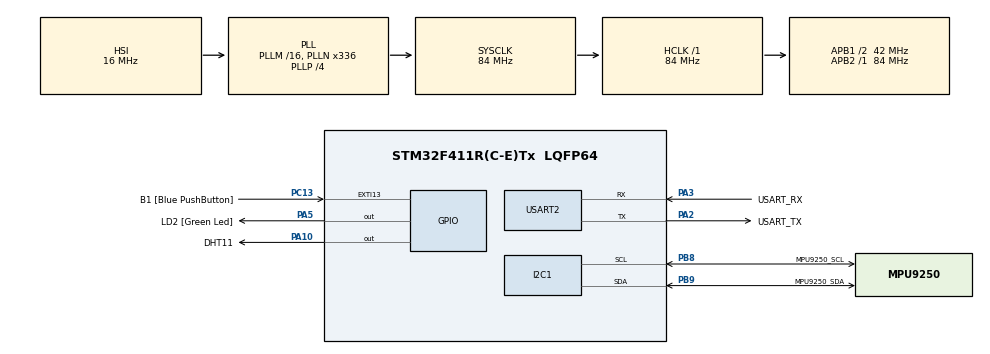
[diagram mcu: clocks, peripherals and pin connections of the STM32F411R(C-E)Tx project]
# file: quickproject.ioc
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Mcu.Family=STM32F4
Mcu.Name=STM32F411R(C-E)Tx
Mcu.Package=LQFP64
NVIC.PriorityGroup=NVIC_PRIORITYGROUP_0
PA10.GPIO_Label=DHT11
PA10.Signal=GPIO_Output
PA13.GPIO_Label=TMS
PA13.Mode=Trace_Asynchronous_SW
PA13.Signal=SYS_JTMS-SWDIO
PA14.GPIO_Label=TCK
PA14.Mode=Trace_Asynchronous_SW
PA14.Signal=SYS_JTCK-SWCLK
PA2.GPIO_Label=USART_TX
PA2.Mode=Asynchronous
PA2.Signal=USART2_TX
PA3.GPIO_Label=USART_RX
PA3.Mode=Asynchronous
PA3.Signal=USART2_RX
PA5.GPIO_Label=LD2 [Green Led]
PA5.Signal=GPIO_Output
PB3.GPIO_Label=SWO
PB3.Mode=Trace_Asynchronous_SW
PB3.Signal=SYS_JTDO-SWO
PB8.GPIO_Label=MPU9250_SCL
PB8.Mode=I2C
PB8.Signal=I2C1_SCL
PB9.GPIO_Label=MPU9250_SDA
PB9.Mode=I2C
PB9.Signal=I2C1_SDA
PC13-ANTI_TAMP.GPIO_Label=B1 [Blue PushButton]
PC13-ANTI_TAMP.GPIO_ModeDefaultEXTI=GPIO_MODE_IT_FALLING
PC13-ANTI_TAMP.Signal=GPXTI13
PC14-OSC32_IN.Mode=LSE-External-Oscillator
PC14-OSC32_IN.Signal=RCC_OSC32_IN
PC15-OSC32_OUT.Mode=LSE-External-Oscillator
PC15-OSC32_OUT.Signal=RCC_OSC32_OUT
PH0\ -\ OSC_IN.Mode=HSE-External-Clock-Source
PH0\ -\ OSC_IN.Signal=RCC_OSC_IN
PH1\ -\ OSC_OUT.Mode=HSE-External-Clock-Source
PH1\ -\ OSC_OUT.Signal=RCC_OSC_OUT
ProjectManager.HeapSize=0x200
ProjectManager.StackSize=0x400
ProjectManager.TargetToolchain=STM32CubeIDE
RCC.48MHZClocksFreq_Value=84000000
RCC.AHBFreq_Value=84000000
RCC.APB1CLKDivider=RCC_HCLK_DIV2
RCC.APB1Freq_Value=42000000
RCC.APB1TimFreq_Value=84000000
RCC.APB2Freq_Value=84000000
RCC.APB2TimFreq_Value=84000000
RCC.CortexFreq_Value=84000000
RCC.FLatency-AdvancedSettings=FLASH_LATENCY_2
RCC.HCLKFreq_Value=84000000
RCC.HSE_VALUE=8000000
RCC.HSI_VALUE=16000000
RCC.PLLN=336
RCC.PLLP=RCC_PLLP_DIV4
RCC.SYSCLKFreq_VALUE=84000000
RCC.SYSCLKSource=RCC_SYSCLKSOURCE_PLLCLK
RCC.VCOOutputFreq_Value=336000000
TIM10.AutoReloadPreload=TIM_AUTORELOAD_PRELOAD_ENABLE
TIM10.Period=65535
TIM10.Prescaler=83
USART2.VirtualMode=VM_ASYNC
VP_TIM10_VS_ClockSourceINT.Mode=Enable_Timer
board=NUCLEO-F411RE

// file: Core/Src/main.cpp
/* USER CODE BEGIN Header */
/**
  ******************************************************************************
  * @file           : main.c
  * @brief          : Main program body
  ******************************************************************************
  * @attention
  *
  * Copyright (c) 2024 STMicroelectronics.
  * All rights reserved.
  *
  * This software is licensed under terms that can be found in the LICENSE file
  * in the root directory of this software component.
  * If no LICENSE file comes with this software, it is provided AS-IS.
  *
  ******************************************************************************
  */
/* USER CODE END Header */
#include "main.h"
#include "i2c.h"
#include "tim.h"
#include "usart.h"
#include "gpio.h"

/* USER CODE BEGIN Includes */
#include <stdio.h>
#include "mpu9250.h"

/* USER CODE END Includes */

/* USER CODE BEGIN PV */
MPU9250 mpu9250(&hi2c1, MPU9250::AD0_LOW);
float_mpu mpu;
uint8_t st;
/* USER CODE END PV */

void SystemClock_Config(void);

int main(void)
{

  /* MCU Configuration--------------------------------------------------------*/

  /* Reset of all peripherals, Initializes the Flash interface and the Systick. */
  HAL_Init();

  /* Configure the system clock */
  SystemClock_Config();

  /* Initialize all configured peripherals */
  MX_GPIO_Init();
  MX_USART2_UART_Init();
  MX_TIM10_Init();
  MX_I2C1_Init();
  /* USER CODE BEGIN 2 */
  printf("Start");
  /* USER CODE END 2 */

  /* Infinite loop */
  /* USER CODE BEGIN WHILE */
  while (1)
  {
	st = mpu9250.begin();
	if(st == mpu9250.OK)
	{
		mpu = mpu9250.readData();
		printf("Accel: %f, %f, %f\n", mpu.ax, mpu.ay, mpu.az);
		printf("Gyro: %f, %f, %f\n", mpu.gx, mpu.gy, mpu.gz);
	}
	else
	{
		printf("Error\n");
	}
	HAL_Delay(500);
    /* USER CODE END WHILE */

  }
}

void SystemClock_Config(void)
{
  RCC_OscInitTypeDef RCC_OscInitStruct = {0};
  RCC_ClkInitTypeDef RCC_ClkInitStruct = {0};

  /** Configure the main internal regulator output voltage
  */
  __HAL_RCC_PWR_CLK_ENABLE();
  __HAL_PWR_VOLTAGESCALING_CONFIG(PWR_REGULATOR_VOLTAGE_SCALE1);

  /** Initializes the RCC Oscillators according to the specified parameters
  * in the RCC_OscInitTypeDef structure.
  */
  RCC_OscInitStruct.OscillatorType = RCC_OSCILLATORTYPE_HSI;
  RCC_OscInitStruct.HSIState = RCC_HSI_ON;
  RCC_OscInitStruct.HSICalibrationValue = RCC_HSICALIBRATION_DEFAULT;
  RCC_OscInitStruct.PLL.PLLState = RCC_PLL_ON;
  RCC_OscInitStruct.PLL.PLLSource = RCC_PLLSOURCE_HSI;
  RCC_OscInitStruct.PLL.PLLM = 16;
  RCC_OscInitStruct.PLL.PLLN = 336;
  RCC_OscInitStruct.PLL.PLLP = RCC_PLLP_DIV4;
  RCC_OscInitStruct.PLL.PLLQ = 4;
  if (HAL_RCC_OscConfig(&RCC_OscInitStruct) != HAL_OK)
  {
    Error_Handler();
  }

  /** Initializes the CPU, AHB and APB buses clocks
  */
  RCC_ClkInitStruct.ClockType = RCC_CLOCKTYPE_HCLK|RCC_CLOCKTYPE_SYSCLK
                              |RCC_CLOCKTYPE_PCLK1|RCC_CLOCKTYPE_PCLK2;
  RCC_ClkInitStruct.SYSCLKSource = RCC_SYSCLKSOURCE_PLLCLK;
  RCC_ClkInitStruct.AHBCLKDivider = RCC_SYSCLK_DIV1;
  RCC_ClkInitStruct.APB1CLKDivider = RCC_HCLK_DIV2;
  RCC_ClkInitStruct.APB2CLKDivider = RCC_HCLK_DIV1;

  if (HAL_RCC_ClockConfig(&RCC_ClkInitStruct, FLASH_LATENCY_2) != HAL_OK)
  {
    Error_Handler();
  }
}

/* USER CODE BEGIN 4 */
extern "C" {
int _write(int file, char *ptr, int len)
    {
        int i = 0;
        for (i = 0; i<len; i++)
            ITM_SendChar((*ptr++));
        return len;
    }
}
/* USER CODE END 4 */

void Error_Handler(void)
{
  __disable_irq();
  while (1)
  {
  }
}
